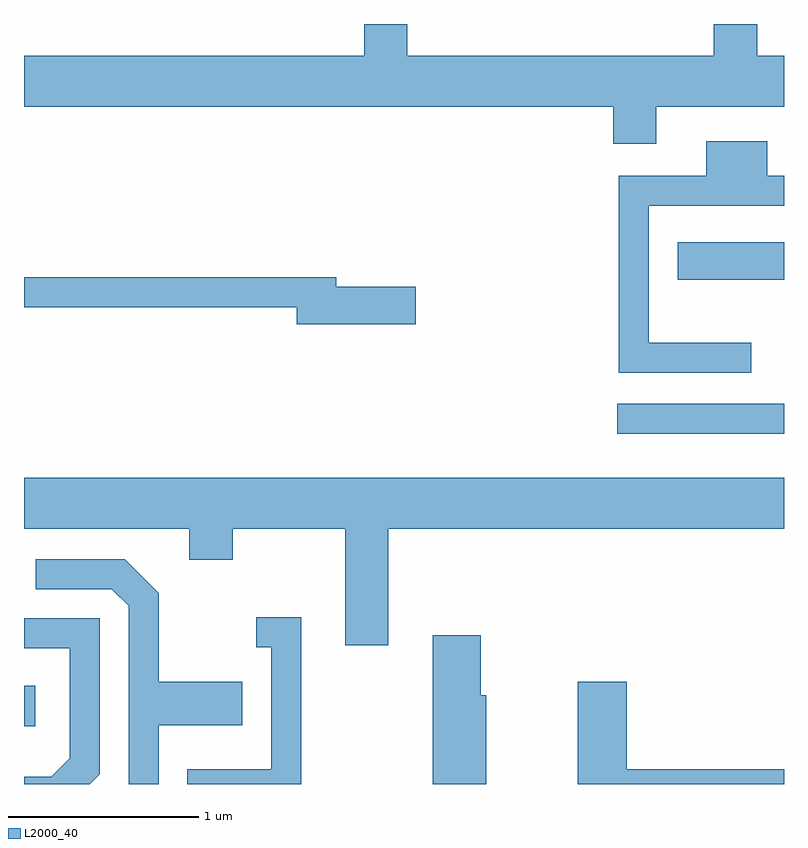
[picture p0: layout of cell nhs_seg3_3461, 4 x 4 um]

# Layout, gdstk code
import gdstk
lib = gdstk.Library(unit=1e-6, precision=1e-09)
def R(c, l, rs):  # rectangles x0, y0, x1, y1
    for r in rs: c.add(gdstk.rectangle(r[:2], r[2:], *l))
def P(c, l, *ps):  # polygons
    for p in ps: c.add(gdstk.Polygon(p, *l))
L2000_40 = (2000, 40)

nhs_seg3_3461 = lib.new_cell('nhs_seg3_3461')
R(nhs_seg3_3461, L2000_40, [(285.611,1238.196,285.669,1238.409), (288.733,1239.736,289.611,1239.894), (289.051,1240.546,289.611,1240.744)])
P(nhs_seg3_3461, L2000_40, [(288.939,1241.456),(289.611,1241.456),(289.611,1241.724),(289.469,1241.724),(289.469,1241.892),(289.241,1241.892),(289.241,1241.724),(287.629,1241.724),(287.629,1241.892),(287.401,1241.892),(287.401,1241.724),(285.611,1241.724),(285.611,1241.456),(288.711,1241.456),(288.711,1241.261),(288.939,1241.261)],
  [(289.438,1240.214),(288.899,1240.214),(288.899,1240.936),(289.611,1240.936),(289.611,1241.094),(289.524,1241.094),(289.524,1241.274),(289.201,1241.274),(289.201,1241.094),(288.741,1241.094),(288.741,1240.056),(289.438,1240.056)],
  [(287.674,1240.509),(287.254,1240.509),(287.254,1240.559),(285.611,1240.559),(285.611,1240.401),(287.046,1240.401),(287.046,1240.311),(287.674,1240.311)],
  [(287.529,1239.236),(289.611,1239.236),(289.611,1239.504),(285.611,1239.504),(285.611,1239.236),(286.481,1239.236),(286.481,1239.071),(286.709,1239.071),(286.709,1239.236),(287.301,1239.236),(287.301,1238.621),(287.529,1238.621)],
  [(286.319,1238.201),(286.759,1238.201),(286.759,1238.429),(286.319,1238.429),(286.319,1238.897),(286.142,1239.074),(285.673,1239.074),(285.673,1238.916),(286.074,1238.916),(286.161,1238.829),(286.161,1237.892),(286.319,1237.892)],
  [(287.069,1238.769),(286.833,1238.769),(286.833,1238.611),(286.911,1238.611),(286.911,1237.969),(286.471,1237.969),(286.471,1237.892),(287.069,1237.892)],
  [(286.009,1237.944),(286.009,1238.764),(285.611,1238.764),(285.611,1238.606),(285.851,1238.606),(285.851,1238.027),(285.754,1237.929),(285.611,1237.929),(285.611,1237.892),(285.957,1237.892)],
  [(288.044,1238.359),(288.014,1238.359),(288.014,1238.674),(287.761,1238.674),(287.761,1237.892),(288.044,1237.892)],
  [(289.611,1237.969),(288.784,1237.969),(288.784,1238.429),(288.526,1238.429),(288.526,1237.892),(289.611,1237.892)])

lib.write_gds('nhs_seg3_3461.gds')
